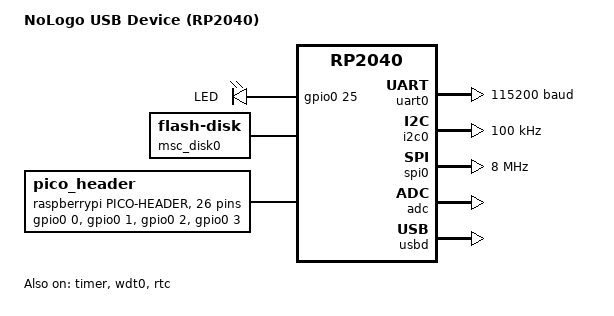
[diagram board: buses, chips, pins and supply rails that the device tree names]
/*
 * SPDX-License-Identifier: Apache-2.0
 *
 * NoLogo USB Device board definition based on Raspberry Pi Pico (RP2040)
 * Includes:
 * - USB CDC ACM (RP2040 internal USB device controller)
 * - WS2812 LED strip on GPIO22 (PIO-based driver)
 * - USB HID keyboard support
 * - Flash-backed USB MSC storage
 */

/dts-v1/;

#include <freq.h>
#include <raspberrypi/rpi_pico/rp2040.dtsi>
#include "nologo_usb-pinctrl.dtsi"

#include <zephyr/dt-bindings/gpio/gpio.h>
#include <zephyr/dt-bindings/led/led.h>
#include <zephyr/dt-bindings/pwm/pwm.h>
#include <zephyr/dt-bindings/i2c/i2c.h>

/ {
	model = "NoLogo USB Device (RP2040)";
	compatible = "nologo,nologo-usb", "raspberrypi,rpi-pico";

	chosen {
		zephyr,sram = &sram0;
		zephyr,flash = &flash0;
		zephyr,flash-controller = &ssi;
		zephyr,console = &uart0;
		zephyr,shell-uart = &uart0;
		zephyr,code-partition = &code_partition;
	};

	aliases {
		rtc = &rtc;
		watchdog0 = &wdt0;
		led0 = &led0;
		pwm-led0 = &pwm_led0;
		led-strip = &ws2812;
	};

	/* On-board LED (GPIO25) */
	leds {
		compatible = "gpio-leds";

		led0: led_0 {
			gpios = <&gpio0 25 GPIO_ACTIVE_HIGH>;
			label = "LED";
		};
	};

	pwm_leds {
		compatible = "pwm-leds";
		status = "disabled";

		pwm_led0: pwm_led_0 {
			pwms = <&pwm 9 PWM_MSEC(20) PWM_POLARITY_NORMAL>;
			label = "PWM_LED";
		};
	};

	/* USB HID keyboard device (boot keyboard) */
	hid_dev_0: hid_dev_0 {
		compatible = "zephyr,hid-device";
		label = "HID0";
		protocol-code = "keyboard";
		/* Boot keyboard input report is 8 bytes */
		in-report-size = <8>;
		/*
		 * Polling period: 8ms is a good balance for keyboard.
		 * 1ms was too aggressive and caused "Endpoint busy" errors
		 * on RP2040 USB controller.
		 */
		in-polling-period-us = <8000>;
	};

	/* Flash-backed disk for USB MSC (uses part of onboard flash) */
	msc_disk0 {
		compatible = "zephyr,flash-disk";
		partition = <&storage_partition>;
		disk-name = "NAND";
		cache-size = <4096>;
	};

	pico_header: connector {
		compatible = "raspberrypi,pico-header";
		#gpio-cells = <2>;
		gpio-map-mask = <0xffffffff 0xffffffc0>;
		gpio-map-pass-thru = <0 0x3f>;
		gpio-map = <0 0 &gpio0 0 0>,	/* GP0 */
			   <1 0 &gpio0 1 0>,	/* GP1 */
			   <2 0 &gpio0 2 0>,	/* GP2 */
			   <3 0 &gpio0 3 0>,	/* GP3 */
			   <4 0 &gpio0 4 0>,	/* GP4 */
			   <5 0 &gpio0 5 0>,	/* GP5 */
			   <6 0 &gpio0 6 0>,	/* GP6 */
			   <7 0 &gpio0 7 0>,	/* GP7 */
			   <8 0 &gpio0 8 0>,	/* GP8 */
			   <9 0 &gpio0 9 0>,	/* GP9 */
			   <10 0 &gpio0 10 0>,	/* GP10 */
			   <11 0 &gpio0 11 0>,	/* GP11 */
			   <12 0 &gpio0 12 0>,	/* GP12 */
			   <13 0 &gpio0 13 0>,	/* GP13 */
			   <14 0 &gpio0 14 0>,	/* GP14 */
			   <15 0 &gpio0 15 0>,	/* GP15 */
			   <16 0 &gpio0 16 0>,	/* GP16 */
			   <17 0 &gpio0 17 0>,	/* GP17 */
			   <18 0 &gpio0 18 0>,	/* GP18 */
			   <19 0 &gpio0 19 0>,	/* GP19 */
			   <20 0 &gpio0 20 0>,	/* GP20 */
			   <21 0 &gpio0 21 0>,	/* GP21 */
			   <22 0 &gpio0 22 0>,	/* GP22 */
			   <26 0 &gpio0 26 0>,	/* GP26 */
			   <27 0 &gpio0 27 0>,	/* GP27 */
			   <28 0 &gpio0 28 0>;	/* GP28 */
	};
};

/*
 * Flash partitions:
 * - 4 MiB total flash (common configuration)
 * - Last 512 KiB reserved for USB MSC storage
 */
&flash0 {
	reg = <0x10000000 DT_SIZE_M(4)>;

	partitions {
		compatible = "fixed-partitions";
		#address-cells = <1>;
		#size-cells = <1>;

		/* Reserved memory for the second stage bootloader */
		second_stage_bootloader: partition@0 {
			label = "second_stage_bootloader";
			reg = <0x00000000 0x100>;
			read-only;
		};

		/*
		 * Usable flash. Starts at 0x100, after the bootloader.
		 * Size is adjusted to leave room for storage partition.
		 */
		code_partition: partition@100 {
			label = "code-partition";
			reg = <0x100 0x37ff00>;
			read-only;
		};

		/*
		 * Storage partition for USB MSC.
		 * 512 KiB at the end of 4 MiB flash (0x380000..0x3fffff).
		 */
		storage_partition: partition@380000 {
			label = "storage";
			reg = <0x00380000 0x00080000>;
		};
	};
};

&uart0 {
	current-speed = <115200>;
	status = "okay";
	pinctrl-0 = <&uart0_default>;
	pinctrl-names = "default";
};

&gpio0 {
	status = "okay";
};

&i2c0 {
	clock-frequency = <I2C_BITRATE_STANDARD>;
	status = "okay";
	pinctrl-0 = <&i2c0_default>;
	pinctrl-names = "default";
};

&i2c1 {
	pinctrl-0 = <&i2c1_default>;
	pinctrl-names = "default";
	status = "disabled";
	clock-frequency = <I2C_BITRATE_FAST>;
};

&spi0 {
	clock-frequency = <DT_FREQ_M(8)>;
	status = "okay";
	pinctrl-0 = <&spi0_default>;
	pinctrl-names = "default";
};

&timer {
	status = "okay";
};

&wdt0 {
	status = "okay";
};

&rtc {
	clocks = <&clocks RPI_PICO_CLKID_CLK_RTC>;
	status = "okay";
};

&adc {
	status = "okay";
	pinctrl-0 = <&adc_default>;
	pinctrl-names = "default";
};

/* USB device controller */
zephyr_udc0: &usbd {
	status = "okay";

	/* USB CDC ACM UART instance */
	cdc_acm_uart0: cdc_acm_uart0 {
		compatible = "zephyr,cdc-acm-uart";
	};
};

&pwm {
	pinctrl-0 = <&pwm_ch4b_default>;
	pinctrl-names = "default";
};

&vreg {
	regulator-always-on;
	regulator-allowed-modes = <REGULATOR_RPI_PICO_MODE_NORMAL>;
};

/* PIO0 for WS2812 LED strip */
&pio0 {
	status = "okay";

	pio-ws2812 {
		compatible = "worldsemi,ws2812-rpi_pico-pio";
		status = "okay";
		pinctrl-0 = <&ws2812_pio0_default>;
		pinctrl-names = "default";
		bit-waveform = <3>, <3>, <4>;

		ws2812: ws2812 {
			status = "okay";
			gpios = <&gpio0 22 GPIO_ACTIVE_HIGH>;
			chain-length = <1>;
			/*
			 * Most WS2812/NeoPixel parts are GRB.
			 * Keep status LED semantics: green=pressure, blue=printk, red=fault.
			 */
			color-mapping = <LED_COLOR_ID_GREEN
					 LED_COLOR_ID_RED
					 LED_COLOR_ID_BLUE>;
			reset-delay = <280>;
			frequency = <DT_FREQ_K(800)>;
		};
	};
};

/* Convenient aliases */
pico_spi: &spi0 {};
pico_i2c0: &i2c0 {};
pico_i2c1: &i2c1 {};
pico_serial: &uart0 {};

